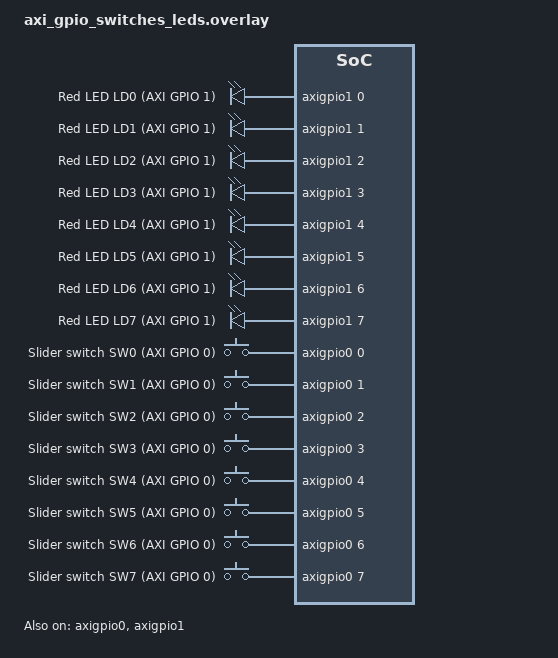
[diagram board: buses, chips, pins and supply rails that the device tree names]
/*
 * Copyright (c) 2022 Immo Birnbaum
 *
 * SPDX-License-Identifier: Apache-2.0
 *
 * This overlay adds the two AXI GPIO controller instances which
 * enable the use of the Zedboard's slider switches SW7 .. SW0
 * and the LEDs LD7 .. LD0 from within a Zephyr application. The
 * following configuration of the AXI GPIO controllers is assumed:
 *
 * - axigpio0: slider switches @ 0x40000000, 4k range
 * - axigpio1: LEDs            @ 0x40001000, 4k range
 * Both controllers operate in single-channel mode.
 */

/ {
	soc {
		axigpio0: gpio@40000000 {
			compatible = "xlnx,xps-gpio-1.00.a";
			reg = <0x40000000 0x1000>;
			gpio-controller;
			#gpio-cells = <2>;
			label = "sws_axi_gpio";
			status = "okay";

			xlnx,is-dual = <0x0>;
			xlnx,gpio-width = <0x8>;
			xlnx,all-inputs = <0x1>;
			xlnx,all-outputs = <0x0>;
			xlnx,tri-default = <0xFF>;
		};

		axigpio1: gpio@40001000 {
			compatible = "xlnx,xps-gpio-1.00.a";
			reg = <0x40001000 0x1000>;
			gpio-controller;
			#gpio-cells = <2>;
			label = "led_axi_gpio";
			status = "okay";

			xlnx,is-dual = <0x0>;
			xlnx,gpio-width = <0x8>;
			xlnx,all-inputs = <0x0>;
			xlnx,all-outputs = <0x1>;
			xlnx,dout-default = <0x0>;
		};
	};

	leds {
		compatible = "gpio-leds";

		/* LD7 .. LD0: red LEDs above the slider switches connected to
			the AXI GPIO 1, bits [7 .. 0]. The handle led_0
			is already assigned to the red LED LD9 connected
			to the PS GPIO controller -> handles start with
			led_1. */

		axi_led_ld0: led_1 {
			gpios = <&axigpio1 0 0>;
			label = "Red LED LD0 (AXI GPIO 1)";
		};
		axi_led_ld1: led_2 {
			gpios = <&axigpio1 1 0>;
			label = "Red LED LD1 (AXI GPIO 1)";
		};
		axi_led_ld2: led_3 {
			gpios = <&axigpio1 2 0>;
			label = "Red LED LD2 (AXI GPIO 1)";
		};
		axi_led_ld3: led_4 {
			gpios = <&axigpio1 3 0>;
			label = "Red LED LD3 (AXI GPIO 1)";
		};
		axi_led_ld4: led_5 {
			gpios = <&axigpio1 4 0>;
			label = "Red LED LD4 (AXI GPIO 1)";
		};
		axi_led_ld5: led_6 {
			gpios = <&axigpio1 5 0>;
			label = "Red LED LD5 (AXI GPIO 1)";
		};
		axi_led_ld6: led_7 {
			gpios = <&axigpio1 6 0>;
			label = "Red LED LD6 (AXI GPIO 1)";
		};
		axi_led_ld7: led_8 {
			gpios = <&axigpio1 7 0>;
			label = "Red LED LD7 (AXI GPIO 1)";
		};
	};

	buttons {
		compatible = "gpio-keys";

		/* SW7 .. SW0: slider switches connected to the AXI GPIO 0, bits
			[7 .. 0]. The handles button_0 and button_1 are
			already assigned to the pushbuttons BTN8 and BTN9
			connected to the PS GPIO controller -> handles start
			with button_2. */

		axi_slider_sw0: button_2 {
			gpios = <&axigpio0 0 0>;
			label = "Slider switch SW0 (AXI GPIO 0)";
		};
		axi_slider_sw1: button_3 {
			gpios = <&axigpio0 1 0>;
			label = "Slider switch SW1 (AXI GPIO 0)";
		};
		axi_slider_sw2: button_4 {
			gpios = <&axigpio0 2 0>;
			label = "Slider switch SW2 (AXI GPIO 0)";
		};
		axi_slider_sw3: button_5 {
			gpios = <&axigpio0 3 0>;
			label = "Slider switch SW3 (AXI GPIO 0)";
		};
		axi_slider_sw4: button_6 {
			gpios = <&axigpio0 4 0>;
			label = "Slider switch SW4 (AXI GPIO 0)";
		};
		axi_slider_sw5: button_7 {
			gpios = <&axigpio0 5 0>;
			label = "Slider switch SW5 (AXI GPIO 0)";
		};
		axi_slider_sw6: button_8 {
			gpios = <&axigpio0 6 0>;
			label = "Slider switch SW6 (AXI GPIO 0)";
		};
		axi_slider_sw7: button_9 {
			gpios = <&axigpio0 7 0>;
			label = "Slider switch SW7 (AXI GPIO 0)";
		};
	};

	aliases {
		ld0 = &axi_led_ld0;
		ld1 = &axi_led_ld1;
		ld2 = &axi_led_ld2;
		ld3 = &axi_led_ld3;
		ld4 = &axi_led_ld4;
		ld5 = &axi_led_ld5;
		ld6 = &axi_led_ld6;
		ld7 = &axi_led_ld7;
		sw0 = &axi_slider_sw0;
		sw1 = &axi_slider_sw1;
		sw2 = &axi_slider_sw2;
		sw3 = &axi_slider_sw3;
		sw4 = &axi_slider_sw4;
		sw5 = &axi_slider_sw5;
		sw6 = &axi_slider_sw6;
		sw7 = &axi_slider_sw7;
	};
};
